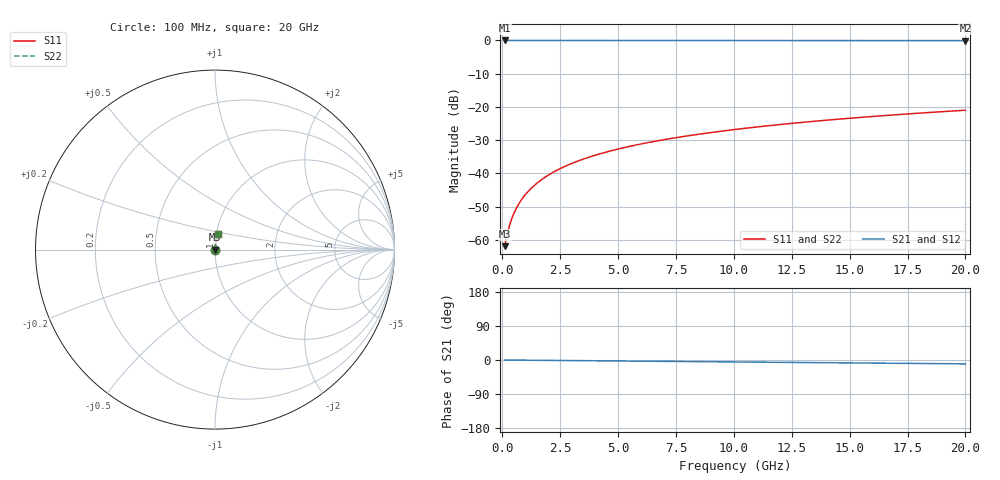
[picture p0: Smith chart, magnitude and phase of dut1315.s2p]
! Touchstone file exported from HFSS 2026.1.0
!  File:  C:/ffzhzh/LocalFiles/Ansys_Project_Files/temp_train_TSV_1315_1783195019_18472.aedt
!  Generated:  03:59:29 AM Jul  5, 2026
!  Design:  TSV
!  Project:  temp_train_TSV_1315_1783195019_18472
! Variables:
!  h_bsmrdl = 2um
!  h_ox = 20um
!  h_rdl = 5um
!  h_sub = 88.16um
!  h_tmrdl = 5um
!  h_tsv = 88.16um
!  h_via = 3um
!  l_bsmrdl = 300um
!  l_sub = 408.1um
!  l_tmrdl = 200um
!  m_sub = 200um
!  pitch = 39.32um
!  r_tsv = 4.05um
!  s_tmrdl = 10um
!  w_bsmrdl = 18um
!  w_sub = 500um
!  w_tmrdl = 12um
!  x_tsv_center1 = 206um
!  x_tsv_center2 = 524um
!  x_tsv_center3 = 736um
!  x_tsv_center4 = 1054um
!  x_tsv_center5 = 1266um
!  x_tsv_center6 = 1584um
# GHz S MA R 50.000000
! Terminal data exported
! Port[1] = TSV1_1_T1
! Port[2] = TSV1_1_T2
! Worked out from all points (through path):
!   200 points, 100 MHz to 20 GHz, reference 50 ohm
!   highest |S21| = -0.01 dB at 100 MHz (marker M1); lowest = -0.1 dB at 20 GHz (marker M2)
!   group delay of S21, straight-line fit = 1.41 ps
!   lowest |S11| = -61.8 dB at 100 MHz (marker M3), VSWR 1.00, Z = 50.1 + j0.0492 ohm
!   |S11| at or under -10 dB: start of sweep to end of sweep
!   |S22| runs from -61.8 to -21.0 dB; largest |S21 - S12| = 3.8e-15
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0.1  0.0008082 37.4  0.9994 -0.1  0.9994 -0.1  0.0008082 37.4
! Gamma 0 0 0 0
! Port Impedance 50 0 50 0
0.2  0.001176 56.2  0.9993 -0.1  0.9993 -0.1  0.001176 56.2
0.3  0.001605 65.4  0.9993 -0.2  0.9993 -0.2  0.001605 65.4
0.4  0.002054 70.5  0.9993 -0.2  0.9993 -0.2  0.002054 70.5
0.5  0.00251 73.8  0.9993 -0.3  0.9993 -0.3  0.00251 73.8
0.6  0.002971 76.0  0.9993 -0.3  0.9993 -0.3  0.002971 76.0
0.8  0.003899 78.9  0.9993 -0.4  0.9993 -0.4  0.003899 78.9
1.1  0.0053 81.3  0.9992 -0.6  0.9992 -0.6  0.0053 81.3
1.5  0.007174 82.9  0.9992 -0.8  0.9992 -0.8  0.007174 82.9
1.8  0.008579 83.5  0.9991 -0.9  0.9991 -0.9  0.008579 83.5
2.1  0.009982 83.9  0.9991 -1.1  0.9991 -1.1  0.009982 83.9
2.7  0.01278 84.3  0.999 -1.4  0.999 -1.4  0.01278 84.3
3.5  0.01647 84.4  0.9988 -1.8  0.9988 -1.8  0.01647 84.4
4.2  0.01968 84.3  0.9986 -2.2  0.9986 -2.2  0.01968 84.3
5  0.02332 84.1  0.9984 -2.6  0.9984 -2.6  0.02332 84.1
5.9  0.02738 83.8  0.9981 -3.1  0.9981 -3.1  0.02738 83.8
6.8  0.03142 83.5  0.9979 -3.5  0.9979 -3.5  0.03142 83.5
8.3  0.03811 83.0  0.9975 -4.3  0.9975 -4.3  0.03811 83.0
10.1  0.0461 82.3  0.9969 -5.2  0.9969 -5.2  0.0461 82.3
13.4  0.06064 81.0  0.9959 -6.8  0.9959 -6.8  0.06064 81.0
16.7  0.07507 79.5  0.9946 -8.5  0.9946 -8.5  0.07507 79.5
20  0.08936 78.0  0.9932 -10.2  0.9932 -10.2  0.08936 78.0
